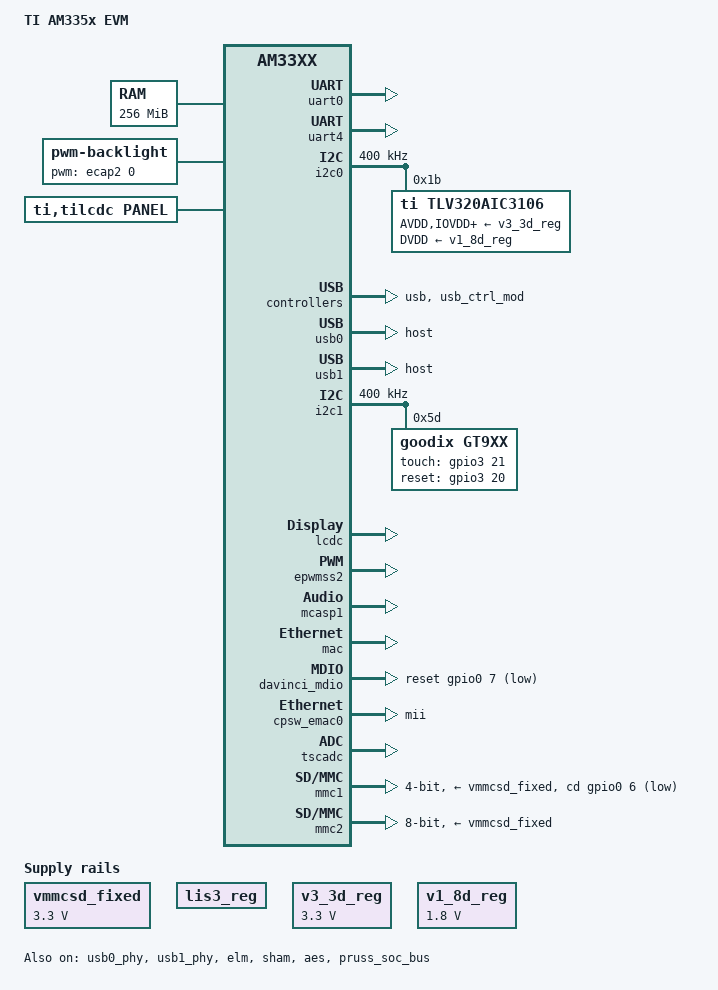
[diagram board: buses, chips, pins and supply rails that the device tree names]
/*
 * Copyright (C) 2012 Texas Instruments Incorporated - http://www.ti.com/
 *
 * This program is free software; you can redistribute it and/or modify
 * it under the terms of the GNU General Public License version 2 as
 * published by the Free Software Foundation.
 */
/dts-v1/;

#include "am33xx.dtsi"
#include <dt-bindings/pwm/pwm.h>
#include <dt-bindings/interrupt-controller/irq.h>

/ {
	model = "TI AM335x EVM";
	compatible = "ti,am335x-evm", "ti,am33xx";

	cpus {
		cpu@0 {
		};
	};

	memory@80000000 {
		device_type = "memory";
		reg = <0x80000000 0x10000000>; /* 256 MB */
	};

	chosen {
		stdout-path = &uart0;
	};

	vmmcsd_fixed: fixedregulator0 {
		compatible = "regulator-fixed";
		regulator-name = "vmmcsd_fixed";
		regulator-min-microvolt = <3300000>;
		regulator-max-microvolt = <3300000>;
		regulator-boot-on;
	};

	lis3_reg: fixedregulator1 {
		compatible = "regulator-fixed";
		regulator-name = "lis3_reg";
		regulator-boot-on;
	};

	v3_3d_reg: fixedregulator-v3_3d {
		compatible = "regulator-fixed";
		regulator-name = "v3_3d";
		regulator-min-microvolt = <3300000>;
		regulator-max-microvolt = <3300000>;
		regulator-boot-on;
	};

	v1_8d_reg: fixedregulator-v1_8d {
		compatible = "regulator-fixed";
		regulator-name = "v1_8d";
		regulator-min-microvolt = <1800000>;
		regulator-max-microvolt = <1800000>;
		regulator-boot-on;
	};

	backlight {
		compatible = "pwm-backlight";
		pwms = <&ecap2 0 50000 0>;
		brightness-levels = <0 51 53 56 62 75 101 152 255>;
		default-brightness-level = <8>;
	};

	panel {
		compatible = "ti,tilcdc,panel";
		status = "okay";
		pinctrl-names = "default";
		pinctrl-0 = <&lcd_pins_s0>;
		panel-info {
			ac-bias           = <255>;
			ac-bias-intrpt    = <0>;
			dma-burst-sz      = <16>;
			bpp               = <32>;
			fdd               = <0x80>;
			sync-edge         = <0>;
			sync-ctrl         = <1>;
			raster-order      = <0>;
			fifo-th           = <0>;
		};

		display-timings {
			800x480p62 {
				clock-frequency = <30000000>;
				hactive = <800>;
				vactive = <480>;
				hfront-porch = <39>;
				hback-porch = <39>;
				hsync-len = <47>;
				vback-porch = <29>;
				vfront-porch = <13>;
				vsync-len = <2>;
				hsync-active = <1>;
				vsync-active = <1>;
			};
		};
	};

	sound {
		compatible = "simple-audio-card";
		simple-audio-card,name = "AM335x-EVM";
		simple-audio-card,widgets =
			"Headphone", "Headphone Jack",
			"Line", "Line In";
		simple-audio-card,routing =
			"Headphone Jack",	"HPLOUT",
			"Headphone Jack",	"HPROUT",
			"LINE1L",		"Line In",
			"LINE1R",		"Line In";
		simple-audio-card,format = "dsp_b";
		simple-audio-card,bitclock-master = <&sound_master>;
		simple-audio-card,frame-master = <&sound_master>;
		simple-audio-card,bitclock-inversion;

		simple-audio-card,cpu {
			sound-dai = <&mcasp1>;
		};

		sound_master: simple-audio-card,codec {
			sound-dai = <&tlv320aic3106>;
			system-clock-frequency = <24000000>;
		};
	};
};

&am33xx_pinmux {
	pinctrl-names = "default";
	pinctrl-0 = <&clkout2_pin &hog0_pins>;


	i2c0_pins: pinmux_i2c0_pins {
		pinctrl-single,pins = <
			AM33XX_IOPAD(0x9b0, PIN_OUTPUT_PULLDOWN | MUX_MODE3)	/* xdma_event_intr0 */
			AM33XX_IOPAD(0x988, PIN_INPUT_PULLUP | MUX_MODE0)	/* i2c0_sda.i2c0_sda */
			AM33XX_IOPAD(0x98c, PIN_INPUT_PULLUP | MUX_MODE0)	/* i2c0_scl.i2c0_scl */
		>;
	};

	i2c1_pins: pinmux_i2c1_pins {
		pinctrl-single,pins = <
			AM33XX_IOPAD(0x958, PIN_INPUT_PULLUP | MUX_MODE2)	/* spi0_d1.i2c1_sda */
			AM33XX_IOPAD(0x95c, PIN_INPUT_PULLUP | MUX_MODE2)	/* spi0_cs0.i2c1_scl */
		>;
	};

	uart0_pins: pinmux_uart0_pins {
		pinctrl-single,pins = <
			AM33XX_IOPAD(0x970, PIN_INPUT_PULLUP | MUX_MODE0)	/* uart0_rxd.uart0_rxd */
			AM33XX_IOPAD(0x974, PIN_OUTPUT_PULLDOWN | MUX_MODE0)	/* uart0_txd.uart0_txd */
		>;
	};

	uart4_pins: pinmux_uart4_pins {
		pinctrl-single,pins = <
			AM33XX_IOPAD(0x968, PIN_INPUT_PULLUP | MUX_MODE1) /* uart0_ctsn.uart4_rxd */
			AM33XX_IOPAD(0x96c, PIN_OUTPUT_PULLDOWN | MUX_MODE1) /* uart0_rtsn.uart4_txd */
		>;
	};

	clkout2_pin: pinmux_clkout2_pin {
		pinctrl-single,pins = <
			AM33XX_IOPAD(0x9b4, PIN_OUTPUT_PULLDOWN | MUX_MODE3)	/* xdma_event_intr1.clkout2 */
		>;
	};

	ecap2_pins: backlight_pins {
		pinctrl-single,pins = <
			AM33XX_IOPAD(0x99c, MUX_MODE4)	/* mcasp0_ahclkr.ecap2_in_pwm2_out */
		>;
	};

	cpsw_default: cpsw_default {
		pinctrl-single,pins = <
			/* Slave 1 */
			AM33XX_IOPAD(0x914, PIN_OUTPUT_PULLDOWN | MUX_MODE0)	/* mii1_txen.mii1_txen */
			AM33XX_IOPAD(0x918, PIN_INPUT_PULLDOWN | MUX_MODE0)	/* mii1_rxdv.mii1_rxdv */
			AM33XX_IOPAD(0x91c, PIN_OUTPUT_PULLDOWN | MUX_MODE0)	/* mii1_txd3.mii1_txd3 */
			AM33XX_IOPAD(0x920, PIN_OUTPUT_PULLDOWN | MUX_MODE0)	/* mii1_txd2.mii1_txd2 */
			AM33XX_IOPAD(0x924, PIN_OUTPUT_PULLDOWN | MUX_MODE0)	/* mii1_txd1.mii1_txd1 */
			AM33XX_IOPAD(0x928, PIN_OUTPUT_PULLDOWN | MUX_MODE0)	/* mii1_txd0.mii1_txd0 */
			AM33XX_IOPAD(0x92c, PIN_INPUT_PULLDOWN | MUX_MODE0)	/* mii1_txclk.mii1_txclk */
			AM33XX_IOPAD(0x930, PIN_INPUT_PULLDOWN | MUX_MODE0)	/* mii1_rxclk.mii1_rxclk */
			AM33XX_IOPAD(0x934, PIN_INPUT_PULLDOWN | MUX_MODE0)	/* mii1_rxd3.mii1_rxd3 */
			AM33XX_IOPAD(0x938, PIN_INPUT_PULLDOWN | MUX_MODE0)	/* mii1_rxd2.mii1_rxd2 */
			AM33XX_IOPAD(0x93c, PIN_INPUT_PULLDOWN | MUX_MODE0)	/* mii1_rxd1.mii1_rxd1 */
			AM33XX_IOPAD(0x940, PIN_INPUT_PULLDOWN | MUX_MODE0)	/* mii1_rxd0.mii1_rxd0 */
		>;
	};

	cpsw_sleep: cpsw_sleep {
		pinctrl-single,pins = <
			/* Slave 1 reset value */
			AM33XX_IOPAD(0x914, PIN_INPUT_PULLDOWN | MUX_MODE7)
			AM33XX_IOPAD(0x918, PIN_INPUT_PULLDOWN | MUX_MODE7)
			AM33XX_IOPAD(0x91c, PIN_INPUT_PULLDOWN | MUX_MODE7)
			AM33XX_IOPAD(0x920, PIN_INPUT_PULLDOWN | MUX_MODE7)
			AM33XX_IOPAD(0x924, PIN_INPUT_PULLDOWN | MUX_MODE7)
			AM33XX_IOPAD(0x928, PIN_INPUT_PULLDOWN | MUX_MODE7)
			AM33XX_IOPAD(0x92c, PIN_INPUT_PULLDOWN | MUX_MODE7)
			AM33XX_IOPAD(0x930, PIN_INPUT_PULLDOWN | MUX_MODE7)
			AM33XX_IOPAD(0x934, PIN_INPUT_PULLDOWN | MUX_MODE7)
			AM33XX_IOPAD(0x938, PIN_INPUT_PULLDOWN | MUX_MODE7)
			AM33XX_IOPAD(0x93c, PIN_INPUT_PULLDOWN | MUX_MODE7)
			AM33XX_IOPAD(0x940, PIN_INPUT_PULLDOWN | MUX_MODE7)
		>;
	};

	davinci_mdio_default: davinci_mdio_default {
		pinctrl-single,pins = <
			/* MDIO */
			AM33XX_IOPAD(0x948, PIN_INPUT_PULLUP | SLEWCTRL_FAST | MUX_MODE0)	/* mdio_data.mdio_data */
			AM33XX_IOPAD(0x94c, PIN_OUTPUT_PULLUP | MUX_MODE0)			/* mdio_clk.mdio_clk */
			AM33XX_IOPAD(0x964, PIN_OUTPUT_PULLUP | MUX_MODE7)			/* ecap0_in_pwm0_out.gpio0_7 */
		>;
	};

	davinci_mdio_sleep: davinci_mdio_sleep {
		pinctrl-single,pins = <
			/* MDIO reset value */
			AM33XX_IOPAD(0x948, PIN_INPUT_PULLDOWN | MUX_MODE7)
			AM33XX_IOPAD(0x94c, PIN_INPUT_PULLDOWN | MUX_MODE7)
		>;
	};

	mmc1_pins: pinmux_mmc1_pins {
		pinctrl-single,pins = <
			AM33XX_IOPAD(0x960, PIN_INPUT | MUX_MODE7)		/* spi0_cs1.gpio0_6 */
			AM33XX_IOPAD(0x8fc, PIN_INPUT_PULLUP | MUX_MODE0)	/* mmc0_dat0.mmc0_dat0 */
			AM33XX_IOPAD(0x8f8, PIN_INPUT_PULLUP | MUX_MODE0)	/* mmc0_dat1.mmc0_dat1 */
			AM33XX_IOPAD(0x8f4, PIN_INPUT_PULLUP | MUX_MODE0)	/* mmc0_dat2.mmc0_dat2 */
			AM33XX_IOPAD(0x8f0, PIN_INPUT_PULLUP | MUX_MODE0)	/* mmc0_dat3.mmc0_dat3 */
			AM33XX_IOPAD(0x904, PIN_INPUT_PULLUP | MUX_MODE0)	/* mmc0_cmd.mmc0_cmd */
			AM33XX_IOPAD(0x900, PIN_INPUT_PULLUP | MUX_MODE0)	/* mmc0_clk.mmc0_clk */
		>;
	};

	emmc_pins: pinmux_emmc_pins {
		pinctrl-single,pins = <
			AM33XX_IOPAD(0x880, PIN_INPUT_PULLUP | MUX_MODE2) /* gpmc_csn1.mmc1_clk */
			AM33XX_IOPAD(0x884, PIN_INPUT_PULLUP | MUX_MODE2) /* gpmc_csn2.mmc1_cmd */
			AM33XX_IOPAD(0x800, PIN_INPUT_PULLUP | MUX_MODE1) /* gpmc_ad0.mmc1_dat0 */
			AM33XX_IOPAD(0x804, PIN_INPUT_PULLUP | MUX_MODE1) /* gpmc_ad1.mmc1_dat1 */
			AM33XX_IOPAD(0x808, PIN_INPUT_PULLUP | MUX_MODE1) /* gpmc_ad2.mmc1_dat2 */
			AM33XX_IOPAD(0x80c, PIN_INPUT_PULLUP | MUX_MODE1) /* gpmc_ad3.mmc1_dat3 */
			AM33XX_IOPAD(0x810, PIN_INPUT_PULLUP | MUX_MODE1) /* gpmc_ad4.mmc1_dat4 */
			AM33XX_IOPAD(0x814, PIN_INPUT_PULLUP | MUX_MODE1) /* gpmc_ad5.mmc1_dat5 */
			AM33XX_IOPAD(0x818, PIN_INPUT_PULLUP | MUX_MODE1) /* gpmc_ad6.mmc1_dat6 */
			AM33XX_IOPAD(0x81c, PIN_INPUT_PULLUP | MUX_MODE1) /* gpmc_ad7.mmc1_dat7 */
		>;
	};

	lcd_pins_s0: lcd_pins_s0 {
		pinctrl-single,pins = <
			AM33XX_IOPAD(0x820, PIN_OUTPUT | MUX_MODE1)		/* gpmc_ad8.lcd_data23 */
			AM33XX_IOPAD(0x824, PIN_OUTPUT | MUX_MODE1)		/* gpmc_ad9.lcd_data22 */
			AM33XX_IOPAD(0x828, PIN_OUTPUT | MUX_MODE1)		/* gpmc_ad10.lcd_data21 */
			AM33XX_IOPAD(0x82c, PIN_OUTPUT | MUX_MODE1)		/* gpmc_ad11.lcd_data20 */
			AM33XX_IOPAD(0x830, PIN_OUTPUT | MUX_MODE1)		/* gpmc_ad12.lcd_data19 */
			AM33XX_IOPAD(0x834, PIN_OUTPUT | MUX_MODE1)		/* gpmc_ad13.lcd_data18 */
			AM33XX_IOPAD(0x838, PIN_OUTPUT | MUX_MODE1)		/* gpmc_ad14.lcd_data17 */
			AM33XX_IOPAD(0x83c, PIN_OUTPUT | MUX_MODE1)		/* gpmc_ad15.lcd_data16 */
			AM33XX_IOPAD(0x8a0, PIN_OUTPUT | MUX_MODE0)		/* lcd_data0.lcd_data0 */
			AM33XX_IOPAD(0x8a4, PIN_OUTPUT | MUX_MODE0)		/* lcd_data1.lcd_data1 */
			AM33XX_IOPAD(0x8a8, PIN_OUTPUT | MUX_MODE0)		/* lcd_data2.lcd_data2 */
			AM33XX_IOPAD(0x8ac, PIN_OUTPUT | MUX_MODE0)		/* lcd_data3.lcd_data3 */
			AM33XX_IOPAD(0x8b0, PIN_OUTPUT | MUX_MODE0)		/* lcd_data4.lcd_data4 */
			AM33XX_IOPAD(0x8b4, PIN_OUTPUT | MUX_MODE0)		/* lcd_data5.lcd_data5 */
			AM33XX_IOPAD(0x8b8, PIN_OUTPUT | MUX_MODE0)		/* lcd_data6.lcd_data6 */
			AM33XX_IOPAD(0x8bc, PIN_OUTPUT | MUX_MODE0)		/* lcd_data7.lcd_data7 */
			AM33XX_IOPAD(0x8c0, PIN_OUTPUT | MUX_MODE0)		/* lcd_data8.lcd_data8 */
			AM33XX_IOPAD(0x8c4, PIN_OUTPUT | MUX_MODE0)		/* lcd_data9.lcd_data9 */
			AM33XX_IOPAD(0x8c8, PIN_OUTPUT | MUX_MODE0)		/* lcd_data10.lcd_data10 */
			AM33XX_IOPAD(0x8cc, PIN_OUTPUT | MUX_MODE0)		/* lcd_data11.lcd_data11 */
			AM33XX_IOPAD(0x8d0, PIN_OUTPUT | MUX_MODE0)		/* lcd_data12.lcd_data12 */
			AM33XX_IOPAD(0x8d4, PIN_OUTPUT | MUX_MODE0)		/* lcd_data13.lcd_data13 */
			AM33XX_IOPAD(0x8d8, PIN_OUTPUT | MUX_MODE0)		/* lcd_data14.lcd_data14 */
			AM33XX_IOPAD(0x8dc, PIN_OUTPUT | MUX_MODE0)		/* lcd_data15.lcd_data15 */
			AM33XX_IOPAD(0x8e0, PIN_OUTPUT | MUX_MODE0)		/* lcd_vsync.lcd_vsync */
			AM33XX_IOPAD(0x8e4, PIN_OUTPUT | MUX_MODE0)		/* lcd_hsync.lcd_hsync */
			AM33XX_IOPAD(0x8e8, PIN_OUTPUT | MUX_MODE0)		/* lcd_pclk.lcd_pclk */
			AM33XX_IOPAD(0x8ec, PIN_OUTPUT | MUX_MODE0)		/* lcd_ac_bias_en.lcd_ac_bias_en */
		>;
	};

	mcasp1_pins: mcasp1_pins {
		pinctrl-single,pins = <
			AM33XX_IOPAD(0x90c, PIN_INPUT_PULLDOWN | MUX_MODE4) /* mii1_crs.mcasp1_aclkx */
			AM33XX_IOPAD(0x910, PIN_INPUT_PULLDOWN | MUX_MODE4) /* mii1_rxerr.mcasp1_fsx */
			AM33XX_IOPAD(0x908, PIN_OUTPUT_PULLDOWN | MUX_MODE4) /* mii1_col.mcasp1_axr2 */
			AM33XX_IOPAD(0x944, PIN_INPUT_PULLDOWN | MUX_MODE4) /* rmii1_ref_clk.mcasp1_axr3 */
		>;
	};

	mcasp1_pins_sleep: mcasp1_pins_sleep {
		pinctrl-single,pins = <
			AM33XX_IOPAD(0x90c, PIN_INPUT_PULLDOWN | MUX_MODE7)
			AM33XX_IOPAD(0x910, PIN_INPUT_PULLDOWN | MUX_MODE7)
			AM33XX_IOPAD(0x908, PIN_INPUT_PULLDOWN | MUX_MODE7)
			AM33XX_IOPAD(0x944, PIN_INPUT_PULLDOWN | MUX_MODE7)
		>;
	};

	touchscreen_pins: pinmux_touchscreen_pins {
		pinctrl-single,pins = <
			AM33XX_IOPAD(0x9ac, PIN_INPUT_PULLUP | MUX_MODE7)	/* mcasp0_ahclkx.gpio3_21 */
			AM33XX_IOPAD(0x9a8, PIN_OUTPUT_PULLUP | MUX_MODE7)	/* mcasp0_axr1.gpio3_20 */
		>;
	};

	hog0_pins: pinmux_hog0_pins {
		pinctrl-single,pins = <
			AM33XX_IOPAD(0x9e4, PIN_OUTPUT_PULLDOWN | MUX_MODE7)	/* emu0.gpio3_7 */
			AM33XX_IOPAD(0x840, PIN_OUTPUT_PULLDOWN | MUX_MODE7)	/* gpmc_a0.gpio1_16 */
			AM33XX_IOPAD(0x844, PIN_OUTPUT_PULLDOWN | MUX_MODE7)	/* gpmc_a1.gpio1_17 */
			AM33XX_IOPAD(0x848, PIN_OUTPUT_PULLDOWN | MUX_MODE7)	/* gpmc_a2.gpio1_18 */
			AM33XX_IOPAD(0x84C, PIN_OUTPUT_PULLDOWN | MUX_MODE7)	/* gpmc_a3.gpio1_19 */
			AM33XX_IOPAD(0x850, PIN_OUTPUT_PULLDOWN | MUX_MODE7)	/* gpmc_a4.gpio1_20 */
			AM33XX_IOPAD(0x854, PIN_INPUT_PULLUP | MUX_MODE7)	/* gpmc_a5.gpio1_21 */
			AM33XX_IOPAD(0x858, PIN_INPUT_PULLUP | MUX_MODE7)	/* gpmc_a6.gpio1_22 */
			AM33XX_IOPAD(0x85C, PIN_INPUT_PULLUP | MUX_MODE7)	/* gpmc_a7.gpio1_23 */
			AM33XX_IOPAD(0x860, PIN_INPUT_PULLUP | MUX_MODE7)	/* gpmc_a8.gpio1_24 */
			AM33XX_IOPAD(0x864, PIN_INPUT_PULLUP | MUX_MODE7)	/* gpmc_a9.gpio1_25 */
			AM33XX_IOPAD(0x868, PIN_INPUT_PULLUP | MUX_MODE7)	/* gpmc_a10.gpio1_26 */
			AM33XX_IOPAD(0x86C, PIN_INPUT_PULLUP | MUX_MODE7)	/* gpmc_a11.gpio1_27 */
			AM33XX_IOPAD(0x888, PIN_OUTPUT_PULLDOWN | MUX_MODE7)	/* gpmc_csn3.gpio2_0 */
			AM33XX_IOPAD(0x88C, PIN_OUTPUT_PULLDOWN | MUX_MODE7)	/* gpmc_clk.gpio2_1 */
			AM33XX_IOPAD(0x990, PIN_INPUT_PULLUP | MUX_MODE7)	/* mcasp0_aclkx.gpio3_14 */
			AM33XX_IOPAD(0x998, PIN_INPUT_PULLUP | MUX_MODE7)	/* mcasp0_axr0.gpio3_16 */
			AM33XX_IOPAD(0x9A0, PIN_OUTPUT_PULLDOWN | MUX_MODE7)	/* mcasp0_aclkr.gpio3_18 */
			AM33XX_IOPAD(0x878, PIN_OUTPUT_PULLDOWN | MUX_MODE7)	/* gpmc_ben1.gpio1_28 */
			AM33XX_IOPAD(0x980, PIN_INPUT_PULLUP | MUX_MODE7)	/* uart1_rxd.gpio0_14 */
			AM33XX_IOPAD(0x978, PIN_OUTPUT_PULLDOWN | MUX_MODE7)	/* uart1_ctsn.gpio0_12 */
			AM33XX_IOPAD(0x97c, PIN_OUTPUT_PULLDOWN | MUX_MODE7)	/* uart1_rtsn.gpio0_13 */
			AM33XX_IOPAD(0x950, PIN_INPUT_PULLUP | MUX_MODE7)	/* spi0_sclk.gpio0_2 */
			AM33XX_IOPAD(0x954, PIN_INPUT_PULLUP | MUX_MODE7)	/* spi0_d0.gpio0_3 */
		>;
	};
};

&uart0 {
	pinctrl-names = "default";
	pinctrl-0 = <&uart0_pins>;

	status = "okay";
};

&uart1 {
	status = "disabled";
};

&uart4 {
	pinctrl-names = "default";
	pinctrl-0 = <&uart4_pins>;

	status = "okay";
};

&i2c0 {
	pinctrl-names = "default";
	pinctrl-0 = <&i2c0_pins>;

	status = "okay";
	clock-frequency = <400000>;

	tlv320aic3106: tlv320aic3106@1b {
		#sound-dai-cells = <0>;
		compatible = "ti,tlv320aic3106";
		reg = <0x1b>;
		status = "okay";
		ai3x-micbias-vg = <2>;

		/* Regulators */
		AVDD-supply = <&v3_3d_reg>;
		IOVDD-supply = <&v3_3d_reg>;
		DRVDD-supply = <&v3_3d_reg>;
		DVDD-supply = <&v1_8d_reg>;
	};
};

&usb {
	status = "okay";
};

&usb_ctrl_mod {
	status = "okay";
};

&usb0_phy {
	status = "okay";
};

&usb1_phy {
	status = "okay";
};

&usb0 {
	status = "okay";
	dr_mode = "host";
};

&usb1 {
	status = "okay";
	dr_mode = "host";
};

&cppi41dma  {
	status = "okay";
};

&i2c1 {
	pinctrl-names = "default";
	pinctrl-0 = <&i2c1_pins>;

	status = "okay";
	clock-frequency = <400000>;

	gt9xx: gt9xx@5d {
		compatible = "goodix,gt9xx";
		pinctrl-names = "default";
		pinctrl-0 = <&touchscreen_pins>;
		reg = <0x5d>;
		touch-gpio = <&gpio3 21 IRQ_TYPE_LEVEL_LOW>;
		reset-gpio = <&gpio3 20 GPIO_ACTIVE_HIGH>;
		max-x = <4096>;
		max-y = <4096>;
		dt-param = <0>;
		screen-width = <800>;
		screen-height = <480>;
		start-x = <3583>;
		end-x = <0>;
		start-y = <3327>;
		end-y = <0>;
		swap-xy = <0>;
		tp-size = <9110>;

                /* tp-supply = <&vcc_sys>; */
        };
};

&i2c2 {
	status = "disabled";
};

&lcdc {
	status = "okay";

	blue-and-red-wiring = "crossed";
	/* blue-and-red-wiring = "straight"; */
};

&elm {
	status = "okay";
};

&epwmss2 {
	status = "okay";

	ecap2: ecap@48304100 {
		status = "okay";
		pinctrl-names = "default";
		pinctrl-0 = <&ecap2_pins>;
	};
};

&gpmc {
	status = "disabled";
};

&mcasp1 {
	#sound-dai-cells = <0>;
	pinctrl-names = "default", "sleep";
	pinctrl-0 = <&mcasp1_pins>;
	pinctrl-1 = <&mcasp1_pins_sleep>;

	status = "okay";

	op-mode = <0>;          /* MCASP_IIS_MODE */
	tdm-slots = <2>;
	/* 16 serializers */
	num-serializer = <16>;
	serial-dir = <  /* 0: INACTIVE, 1: TX, 2: RX */
		0 0 1 2 0 0 0 0 0 0 0 0 0 0 0 0
	>;
	tx-num-evt = <32>;
	rx-num-evt = <32>;
};

&mac {
	pinctrl-names = "default", "sleep";
	pinctrl-0 = <&cpsw_default>;
	pinctrl-1 = <&cpsw_sleep>;
	slaves = <1>;
	status = "okay";
};

&davinci_mdio {
	pinctrl-names = "default", "sleep";
	pinctrl-0 = <&davinci_mdio_default>;
	pinctrl-1 = <&davinci_mdio_sleep>;
	reset-gpios = <&gpio0 7 GPIO_ACTIVE_LOW>;
	reset-delay-us = <100>;
	status = "okay";
};

&cpsw_emac0 {
	phy_id = <&davinci_mdio>, <0>;
	phy-mode = "mii";
	max-speed = <100>;
};

&tscadc {
	status = "okay";

	adc {
		ti,adc-channels = <4 5 6 7>;
	};
};

&mmc1 {
	status = "okay";
	vmmc-supply = <&vmmcsd_fixed>;
	bus-width = <4>;
	pinctrl-names = "default";
	pinctrl-0 = <&mmc1_pins>;
	cd-gpios = <&gpio0 6 GPIO_ACTIVE_LOW>;
};

&mmc2 {
	vmmc-supply = <&vmmcsd_fixed>;
	pinctrl-names = "default";
	pinctrl-0 = <&emmc_pins>;
	ti,non-removable;
	bus-width = <8>;
	status = "okay";
};

&mmc3 {
	status = "disabled";
};

&sham {
	status = "okay";
};

&aes {
	status = "okay";
};

&dcan1 {
	status = "disabled";
};

&rtc {
	clocks = <&clk_32768_ck>, <&l4_per_clkctrl AM3_CLKDIV32K_CLKCTRL 0>;
	clock-names = "ext-clk", "int-clk";
};

&wkup_m3_ipc {
	ti,scale-data-fw = "am335x-evm-scale-data.bin";
};

&sgx {
	status = "disabled";
};

&pruss_soc_bus {
	status = "okay";

	pruss: pruss@4a300000 {
		status = "okay";
	};
};


